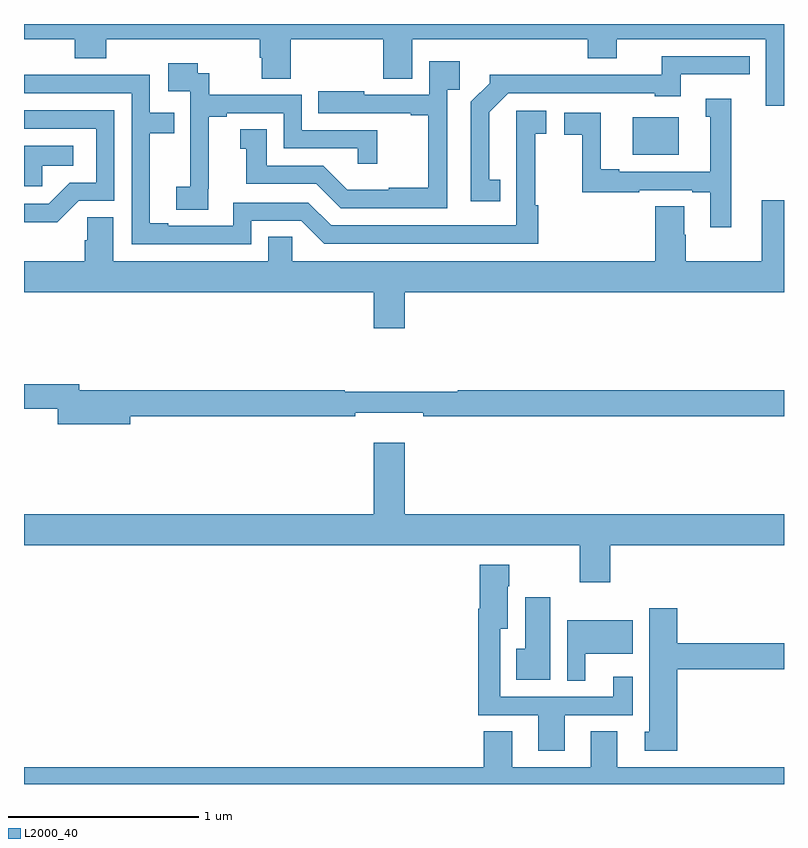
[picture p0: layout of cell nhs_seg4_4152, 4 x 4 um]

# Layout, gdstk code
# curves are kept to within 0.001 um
import gdstk
lib = gdstk.Library(unit=1e-6, precision=1e-09)
def R(c, l, rs):  # rectangles x0, y0, x1, y1
    for r in rs: c.add(gdstk.rectangle(r[:2], r[2:], *l))
def P(c, l, *ps):  # polygons
    for p in ps: c.add(gdstk.Polygon(p, *l))
L2000_40 = (2000, 40)

nhs_seg4_4152 = lib.new_cell('nhs_seg4_4152')
R(nhs_seg4_4152, L2000_40, [(334.205,796.211,334.447,796.408)])
P(nhs_seg4_4152, L2000_40, [(335,796.9),(331,796.9),(331,796.82),(331.268,796.82),(331.268,796.721),(331.433,796.721),(331.433,796.82),(332.24,796.82),(332.24,796.722),(332.252,796.722),(332.252,796.612),(332.405,796.612),(332.405,796.82),(332.891,796.82),(332.891,796.612),(333.043,796.612),(333.043,796.82),(333.968,796.82),(333.968,796.721),(334.12,796.721),(334.12,796.82),(334.905,796.82),(334.905,796.47),(335,796.47)],
  [(333.506,796.079),(333.448,796.079),(333.448,796.435),(333.549,796.536),(334.32,796.536),(334.32,796.52),(334.456,796.52),(334.456,796.635),(334.82,796.635),(334.82,796.731),(334.357,796.731),(334.357,796.632),(333.884,796.632),(333.884,796.634),(333.45,796.634),(333.45,796.589),(333.351,796.49),(333.351,795.966),(333.506,795.966)],
  [(333.228,796.553),(333.293,796.553),(333.293,796.705),(333.132,796.705),(333.132,796.527),(332.791,796.527),(332.791,796.546),(332.548,796.546),(332.548,796.431),(333.035,796.431),(333.035,796.419),(333.127,796.419),(333.127,796.039),(332.921,796.039),(332.921,796.027),(332.702,796.027),(332.574,796.155),(332.278,796.155),(332.278,796.346),(332.138,796.346),(332.138,796.243),(332.171,796.243),(332.171,796.059),(332.538,796.059),(332.667,795.93),(333.228,795.93)],
  [(331.97,796.033),(331.972,796.033),(331.972,796.411),(332.068,796.411),(332.068,796.431),(332.367,796.431),(332.367,796.245),(332.757,796.245),(332.757,796.164),(332.858,796.164),(332.858,796.341),(332.463,796.341),(332.463,796.527),(331.976,796.527),(331.976,796.641),(331.914,796.641),(331.914,796.693),(331.758,796.693),(331.758,796.545),(331.875,796.545),(331.875,796.241),(331.874,796.241),(331.874,796.044),(331.8,796.044),(331.8,795.922),(331.97,795.922)],
  [(332.196,795.864),(332.46,795.864),(332.58,795.744),(333.707,795.744),(333.707,795.947),(333.69,795.947),(333.69,796.323),(333.748,796.323),(333.748,796.444),(333.59,796.444),(333.591,795.84),(332.616,795.84),(332.496,795.96),(332.1,795.96),(332.1,795.837),(331.759,795.837),(331.759,795.852),(331.663,795.852),(331.663,796.326),(331.79,796.326),(331.79,796.434),(331.662,796.434),(331.662,796.632),(331.184,796.632),(331.184,796.634),(331,796.634),(331,796.536),(331.566,796.536),(331.566,795.741),(332.196,795.741)],
  [(334.723,796.507),(334.589,796.507),(334.589,796.413),(334.613,796.413),(334.613,796.122),(334.132,796.122),(334.132,796.135),(334.036,796.135),(334.036,796.434),(333.843,796.434),(333.843,796.318),(333.937,796.318),(333.937,796.014),(334.238,796.014),(334.238,796.026),(334.517,796.026),(334.517,796.014),(334.613,796.014),(334.613,795.831),(334.723,795.831)],
  [(331.287,795.969),(331.476,795.969),(331.476,796.446),(331,796.446),(331,796.35),(331.38,796.35),(331.38,796.065),(331.242,796.065),(331.131,795.954),(331,795.954),(331,795.857),(331.174,795.857)],
  [(331.095,796.154),(331.258,796.154),(331.258,796.258),(331,796.258),(331,796.047),(331.095,796.047)],
  [(332.84,795.3),(333.004,795.3),(333.004,795.488),(335,795.488),(335,795.973),(334.883,795.973),(334.883,795.652),(334.482,795.652),(334.482,795.791),(334.474,795.791),(334.474,795.941),(334.322,795.941),(334.322,795.652),(332.412,795.652),(332.412,795.779),(332.285,795.779),(332.285,795.652),(331.471,795.652),(331.471,795.884),(331.332,795.884),(331.332,795.761),(331.319,795.761),(331.319,795.652),(331,795.652),(331,795.488),(332.84,795.488)],
  [(331.558,794.836),(332.744,794.836),(332.744,794.855),(333.1,794.855),(333.1,794.836),(335,794.836),(335,794.972),(333.284,794.972),(333.284,794.965),(332.687,794.965),(332.687,794.972),(331.291,794.972),(331.291,795.004),(331,795.004),(331,794.875),(331.178,794.875),(331.178,794.794),(331.558,794.794)],
  [(334.085,794.156),(335,794.156),(335,794.32),(333.004,794.32),(333.004,794.695),(332.84,794.695),(332.84,794.32),(331,794.32),(331,794.156),(333.925,794.156),(333.925,793.962),(334.085,793.962)],
  [(333.847,793.263),(334.204,793.263),(334.204,793.465),(334.1,793.465),(334.1,793.359),(333.507,793.359),(333.507,793.718),(333.547,793.718),(333.547,793.94),(333.555,793.94),(333.555,794.053),(333.398,794.053),(333.398,793.822),(333.391,793.822),(333.391,793.263),(333.707,793.263),(333.707,793.074),(333.847,793.074)],
  [(333.769,793.882),(333.638,793.882),(333.638,793.613),(333.592,793.613),(333.592,793.448),(333.769,793.448)],
  [(334.439,793.504),(335,793.504),(335,793.64),(334.439,793.64),(334.439,793.825),(334.292,793.825),(334.292,793.176),(334.268,793.176),(334.268,793.074),(334.439,793.074)],
  [(333.955,793.586),(334.204,793.586),(334.204,793.762),(333.858,793.762),(333.858,793.444),(333.955,793.444)],
  [(335,792.988),(334.123,792.988),(334.123,793.178),(333.983,793.178),(333.983,792.988),(333.571,792.988),(333.571,793.178),(333.419,793.178),(333.419,792.988),(331,792.988),(331,792.9),(335,792.9)])

lib.write_gds('nhs_seg4_4152.gds')
